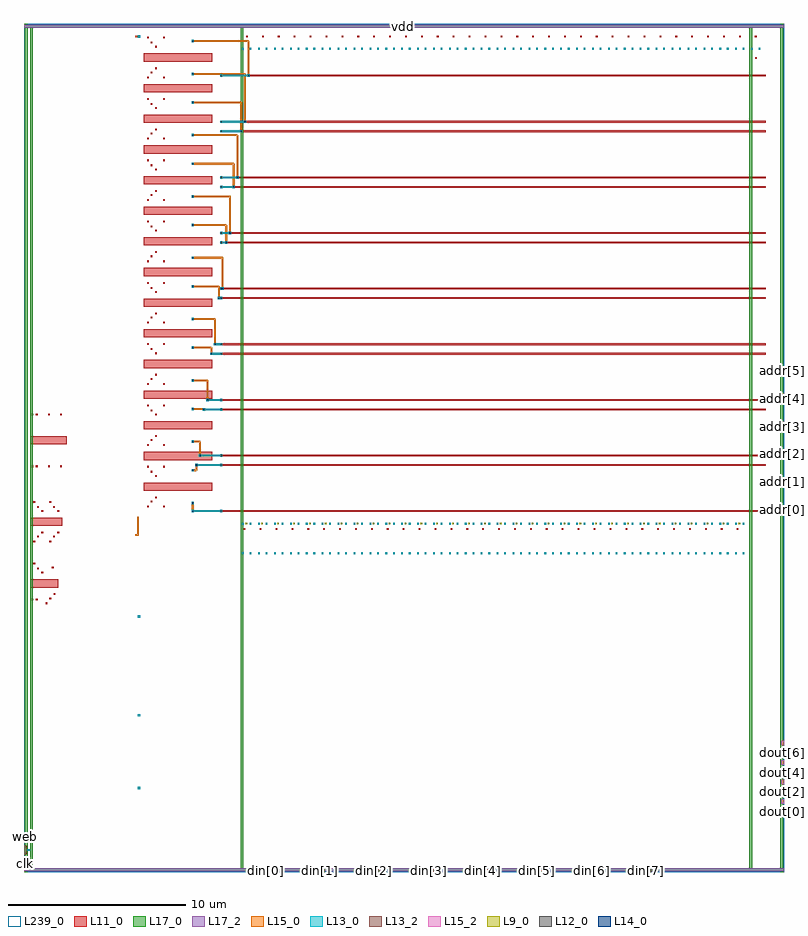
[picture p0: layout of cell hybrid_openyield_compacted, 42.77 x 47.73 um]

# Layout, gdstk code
import gdstk
lib = gdstk.Library(unit=1e-6, precision=5e-10)
def R(c, l, rs):  # rectangles x0, y0, x1, y1
    for r in rs: c.add(gdstk.rectangle(r[:2], r[2:], *l))
def A(c, l, x, y, w, h, nx, ny, dx, dy):  # array of equal rectangles
    R(c, l, [(x+i*dx, y+j*dy, x+i*dx+w, y+j*dy+h) for i in range(nx) for j in range(ny)])
L9_0 = (9, 0)
L11_0 = (11, 0)
L12_0 = (12, 0)
L13_0 = (13, 0)
L13_2 = (13, 2)
L14_0 = (14, 0)
L15_0 = (15, 0)
L15_2 = (15, 2)
L17_0 = (17, 0)
L17_2 = (17, 2)
L239_0 = (239, 0)

hybrid_openyield_compact = lib.new_cell('hybrid_openyield_compacted')
A(hybrid_openyield_compact, L9_0, 12.465, 19.575, 0.09, 0.09, 32, 1, 0.895, 0)
A(hybrid_openyield_compact, L11_0, 12.3725, 19.2675, 0.09, 0.09, 32, 1, 0.895, 0)
A(hybrid_openyield_compact, L11_0, 6.7375, 21.4625, 3.8675, 0.46, 1, 15, 0, 1.725)
A(hybrid_openyield_compact, L11_0, 0.67, 22.7925, 0.09, 0.09, 3, 2, 0.6875, 2.92)
A(hybrid_openyield_compact, L11_0, 12.5, 46.97, 0.09, 0.09, 33, 1, 0.895, 0)
R(hybrid_openyield_compact, L11_0, [(1.2175,15.08,1.3075,15.17), (0.4375,15.29,0.5275,15.38), (0.67,15.29,0.76,15.38), (1.4325,15.36,1.5225,15.45), (1.67,15.5925,1.76,15.6825), (0.3425,16.0125,1.9325,16.4725), (0.9825,16.8025,1.0725,16.8925), (0.745,17.035,0.835,17.125), (1.5725,17.105,1.6625,17.195), (0.53,17.315,0.62,17.405), (0.53,18.555,0.62,18.645), (1.4325,18.555,1.5225,18.645), (0.745,18.835,0.835,18.925), (1.6475,18.835,1.7375,18.925), (0.9825,19.0675,1.0725,19.1575), (1.885,19.0675,1.975,19.1575), (0.3425,19.4875,2.1475,19.9475), (11.0325,20.2475,11.1675,20.3825), (11.1,20.27,41.74,20.36), (0.9825,20.2775,1.0725,20.3675), (1.885,20.2775,1.975,20.3675), (0.745,20.51,0.835,20.6), (1.6475,20.51,1.7375,20.6), (6.925,20.53,7.015,20.62), (7.8275,20.53,7.9175,20.62), (9.4275,20.7025,9.5625,20.8375), (9.45,20.725,9.54,20.815), (0.53,20.79,0.62,20.88), (1.4325,20.79,1.5225,20.88), (7.14,20.81,7.23,20.9), (7.3775,21.0425,7.4675,21.1325), (7.3775,22.2525,7.4675,22.3425), (7.14,22.485,7.23,22.575), (9.4275,22.5475,9.5625,22.6825), (9.45,22.57,9.54,22.66), (6.925,22.765,7.015,22.855), (7.8275,22.765,7.9175,22.855), (0.4375,22.7925,0.5275,22.8825), (11.0325,22.8425,11.1675,22.9775), (11.1,22.865,41.74,22.955), (11.0325,23.3775,11.1675,23.5125), (11.1,23.4,41.74,23.49), (6.925,23.98,7.015,24.07), (7.8275,23.98,7.9175,24.07), (0.3425,24.0675,2.405,24.5275), (9.4275,24.1525,9.5625,24.2875), (9.45,24.175,9.54,24.265), (7.14,24.26,7.23,24.35), (7.3775,24.4925,7.4675,24.5825), (7.3775,25.7025,7.4675,25.7925), (0.4375,25.7125,0.5275,25.8025), (7.14,25.935,7.23,26.025), (11.0325,25.9725,11.1675,26.1075), (11.1,25.995,41.74,26.085), (9.4275,25.9975,9.5625,26.1325), (9.45,26.02,9.54,26.11), (6.925,26.215,7.015,26.305), (7.8275,26.215,7.9175,26.305), (11.0325,26.5075,11.1675,26.6425), (11.1,26.53,41.74,26.62), (6.925,27.43,7.015,27.52), (7.8275,27.43,7.9175,27.52), (9.4275,27.6025,9.5625,27.7375), (9.45,27.625,9.54,27.715), (7.14,27.71,7.23,27.8), (7.3775,27.9425,7.4675,28.0325), (11.0325,29.1025,11.1675,29.2375), (11.1,29.125,41.74,29.215), (7.3775,29.1525,7.4675,29.2425), (7.14,29.385,7.23,29.475), (9.4275,29.4475,9.5625,29.5825), (9.45,29.47,9.54,29.56), (11.0325,29.6375,11.1675,29.7725), (11.1,29.66,41.74,29.75), (6.925,29.665,7.015,29.755), (7.8275,29.665,7.9175,29.755), (6.925,30.88,7.015,30.97), (7.8275,30.88,7.9175,30.97), (9.4275,31.0525,9.5625,31.1875), (9.45,31.075,9.54,31.165), (7.14,31.16,7.23,31.25), (7.3775,31.3925,7.4675,31.4825), (11.0325,32.2325,11.1675,32.3675), (11.1,32.255,41.74,32.345), (7.3775,32.6025,7.4675,32.6925), (11.0325,32.7675,11.1675,32.9025), (11.1,32.79,41.74,32.88), (7.14,32.835,7.23,32.925), (9.4275,32.8975,9.5625,33.0325), (9.45,32.92,9.54,33.01), (6.925,33.115,7.015,33.205), (7.8275,33.115,7.9175,33.205), (6.925,34.33,7.015,34.42), (7.8275,34.33,7.9175,34.42), (9.4275,34.5025,9.5625,34.6375), (9.45,34.525,9.54,34.615), (7.14,34.61,7.23,34.7), (7.3775,34.8425,7.4675,34.9325), (11.0325,35.3625,11.1675,35.4975), (11.1,35.385,41.74,35.475), (11.0325,35.8975,11.1675,36.0325), (11.1,35.92,41.74,36.01), (7.3775,36.0525,7.4675,36.1425), (7.14,36.285,7.23,36.375), (9.4275,36.3475,9.5625,36.4825), (9.45,36.37,9.54,36.46), (6.925,36.565,7.015,36.655), (7.8275,36.565,7.9175,36.655), (6.925,37.78,7.015,37.87), (7.8275,37.78,7.9175,37.87), (9.4275,37.9525,9.5625,38.0875), (9.45,37.975,9.54,38.065), (7.14,38.06,7.23,38.15), (7.3775,38.2925,7.4675,38.3825), (11.0325,38.4925,11.1675,38.6275), (11.1,38.515,41.74,38.605), (11.0325,39.0275,11.1675,39.1625), (11.1,39.05,41.74,39.14), (7.3775,39.5025,7.4675,39.5925), (7.14,39.735,7.23,39.825), (9.4275,39.7975,9.5625,39.9325), (9.45,39.82,9.54,39.91), (6.925,40.015,7.015,40.105), (7.8275,40.015,7.9175,40.105), (6.925,41.23,7.015,41.32), (7.8275,41.23,7.9175,41.32), (9.4275,41.4025,9.5625,41.5375), (9.45,41.425,9.54,41.515), (7.14,41.51,7.23,41.6), (11.0325,41.6225,11.1675,41.7575), (11.1,41.645,41.74,41.735), (7.3775,41.7425,7.4675,41.8325), (11.0325,42.1575,11.1675,42.2925), (11.1,42.18,41.74,42.27), (7.3775,42.9525,7.4675,43.0425), (7.14,43.185,7.23,43.275), (9.4275,43.2475,9.5625,43.3825), (9.45,43.27,9.54,43.36), (6.925,43.465,7.015,43.555), (7.8275,43.465,7.9175,43.555), (6.925,44.68,7.015,44.77), (7.8275,44.68,7.9175,44.77), (11.0325,44.7525,11.1675,44.8875), (11.1,44.775,41.74,44.865), (9.4275,44.8525,9.5625,44.9875), (9.45,44.875,9.54,44.965), (7.14,44.96,7.23,45.05), (7.3775,45.1925,7.4675,45.2825), (41.16,45.7725,41.25,45.8625), (7.3775,46.4025,7.4675,46.4925), (7.14,46.635,7.23,46.725), (9.4275,46.6975,9.5625,46.8325), (9.45,46.72,9.54,46.81), (6.925,46.915,7.015,47.005), (7.8275,46.915,7.9175,47.005)])
R(hybrid_openyield_compact, L12_0, [(11.0675,20.2825,11.1325,20.3475), (9.4625,20.7375,9.5275,20.8025), (9.4625,22.5825,9.5275,22.6475), (11.0675,22.8775,11.1325,22.9425), (11.0675,23.4125,11.1325,23.4775), (9.4625,24.1875,9.5275,24.2525), (11.0675,26.0075,11.1325,26.0725), (9.4625,26.0325,9.5275,26.0975), (11.0675,26.5425,11.1325,26.6075), (9.4625,27.6375,9.5275,27.7025), (11.0675,29.1375,11.1325,29.2025), (9.4625,29.4825,9.5275,29.5475), (11.0675,29.6725,11.1325,29.7375), (9.4625,31.0875,9.5275,31.1525), (11.0675,32.2675,11.1325,32.3325), (11.0675,32.8025,11.1325,32.8675), (9.4625,32.9325,9.5275,32.9975), (9.4625,34.5375,9.5275,34.6025), (11.0675,35.3975,11.1325,35.4625), (11.0675,35.9325,11.1325,35.9975), (9.4625,36.3825,9.5275,36.4475), (9.4625,37.9875,9.5275,38.0525), (11.0675,38.5275,11.1325,38.5925), (11.0675,39.0625,11.1325,39.1275), (9.4625,39.8325,9.5275,39.8975), (9.4625,41.4375,9.5275,41.5025), (11.0675,41.6575,11.1325,41.7225), (11.0675,42.1925,11.1325,42.2575), (9.4625,43.2825,9.5275,43.3475), (11.0675,44.7875,11.1325,44.8525), (9.4625,44.8875,9.5275,44.9525), (9.4625,46.7325,9.5275,46.7975)])
A(hybrid_openyield_compact, L13_0, 13.37, 0, 0.5, 0.16, 8, 1, 3.06, 0)
A(hybrid_openyield_compact, L13_0, 0, 0.2425, 0.16, 0.5, 1, 3, 0, 0.75)
A(hybrid_openyield_compact, L13_0, 0.16, 0.4575, 0.1825, 0.07, 1, 3, 0, 0.75)
R(hybrid_openyield_compact, L13_0, [(6.395,4.6525,6.53,4.7875), (6.395,8.7575,6.53,8.8925), (6.395,14.325,6.53,14.46), (12.2875,17.8975,12.3775,17.9875), (12.7125,17.8975,12.8025,17.9875), (13.1825,17.8975,13.2725,17.9875), (13.6075,17.8975,13.6975,17.9875), (14.0775,17.8975,14.1675,17.9875), (14.5025,17.8975,14.5925,17.9875), (14.9725,17.8975,15.0625,17.9875), (15.3975,17.8975,15.4875,17.9875), (15.8675,17.8975,15.9575,17.9875), (16.2925,17.8975,16.3825,17.9875), (16.7625,17.8975,16.8525,17.9875), (17.1875,17.8975,17.2775,17.9875), (17.6575,17.8975,17.7475,17.9875), (18.0825,17.8975,18.1725,17.9875), (18.5525,17.8975,18.6425,17.9875), (18.9775,17.8975,19.0675,17.9875), (19.4475,17.8975,19.5375,17.9875), (19.8725,17.8975,19.9625,17.9875), (20.3425,17.8975,20.4325,17.9875), (20.7675,17.8975,20.8575,17.9875), (21.2375,17.8975,21.3275,17.9875), (21.6625,17.8975,21.7525,17.9875), (22.1325,17.8975,22.2225,17.9875), (22.5575,17.8975,22.6475,17.9875), (23.0275,17.8975,23.1175,17.9875), (23.4525,17.8975,23.5425,17.9875), (23.9225,17.8975,24.0125,17.9875), (24.3475,17.8975,24.4375,17.9875), (24.8175,17.8975,24.9075,17.9875), (25.2425,17.8975,25.3325,17.9875), (25.7125,17.8975,25.8025,17.9875), (26.1375,17.8975,26.2275,17.9875), (26.6075,17.8975,26.6975,17.9875), (27.0325,17.8975,27.1225,17.9875), (27.5025,17.8975,27.5925,17.9875), (27.9275,17.8975,28.0175,17.9875), (28.3975,17.8975,28.4875,17.9875), (28.8225,17.8975,28.9125,17.9875), (29.2925,17.8975,29.3825,17.9875), (29.7175,17.8975,29.8075,17.9875), (30.1875,17.8975,30.2775,17.9875), (30.6125,17.8975,30.7025,17.9875), (31.0825,17.8975,31.1725,17.9875), (31.5075,17.8975,31.5975,17.9875), (31.9775,17.8975,32.0675,17.9875), (32.4025,17.8975,32.4925,17.9875), (32.8725,17.8975,32.9625,17.9875), (33.2975,17.8975,33.3875,17.9875), (33.7675,17.8975,33.8575,17.9875), (34.1925,17.8975,34.2825,17.9875), (34.6625,17.8975,34.7525,17.9875), (35.0875,17.8975,35.1775,17.9875), (35.5575,17.8975,35.6475,17.9875), (35.9825,17.8975,36.0725,17.9875), (36.4525,17.8975,36.5425,17.9875), (36.8775,17.8975,36.9675,17.9875), (37.3475,17.8975,37.4375,17.9875), (37.7725,17.8975,37.8625,17.9875), (38.2425,17.8975,38.3325,17.9875), (38.6675,17.8975,38.7575,17.9875), (39.1375,17.8975,39.2275,17.9875), (39.5625,17.8975,39.6525,17.9875), (40.0325,17.8975,40.1225,17.9875), (40.4575,17.8975,40.5475,17.9875), (12.2875,19.5575,12.3775,19.6475), (12.7125,19.5575,12.8025,19.6475), (13.1825,19.5575,13.2725,19.6475), (13.6075,19.5575,13.6975,19.6475), (14.0775,19.5575,14.1675,19.6475), (14.5025,19.5575,14.5925,19.6475), (14.9725,19.5575,15.0625,19.6475), (15.3975,19.5575,15.4875,19.6475), (15.8675,19.5575,15.9575,19.6475), (16.2925,19.5575,16.3825,19.6475), (16.7625,19.5575,16.8525,19.6475), (17.1875,19.5575,17.2775,19.6475), (17.6575,19.5575,17.7475,19.6475), (18.0825,19.5575,18.1725,19.6475), (18.5525,19.5575,18.6425,19.6475), (18.9775,19.5575,19.0675,19.6475), (19.4475,19.5575,19.5375,19.6475), (19.8725,19.5575,19.9625,19.6475), (20.3425,19.5575,20.4325,19.6475), (20.7675,19.5575,20.8575,19.6475), (21.2375,19.5575,21.3275,19.6475), (21.6625,19.5575,21.7525,19.6475), (22.1325,19.5575,22.2225,19.6475), (22.5575,19.5575,22.6475,19.6475), (23.0275,19.5575,23.1175,19.6475), (23.4525,19.5575,23.5425,19.6475), (23.9225,19.5575,24.0125,19.6475), (24.3475,19.5575,24.4375,19.6475), (24.8175,19.5575,24.9075,19.6475), (25.2425,19.5575,25.3325,19.6475), (25.7125,19.5575,25.8025,19.6475), (26.1375,19.5575,26.2275,19.6475), (26.6075,19.5575,26.6975,19.6475), (27.0325,19.5575,27.1225,19.6475), (27.5025,19.5575,27.5925,19.6475), (27.9275,19.5575,28.0175,19.6475), (28.3975,19.5575,28.4875,19.6475), (28.8225,19.5575,28.9125,19.6475), (29.2925,19.5575,29.3825,19.6475), (29.7175,19.5575,29.8075,19.6475), (30.1875,19.5575,30.2775,19.6475), (30.6125,19.5575,30.7025,19.6475), (31.0825,19.5575,31.1725,19.6475), (31.5075,19.5575,31.5975,19.6475), (31.9775,19.5575,32.0675,19.6475), (32.4025,19.5575,32.4925,19.6475), (32.8725,19.5575,32.9625,19.6475), (33.2975,19.5575,33.3875,19.6475), (33.7675,19.5575,33.8575,19.6475), (34.1925,19.5575,34.2825,19.6475), (34.6625,19.5575,34.7525,19.6475), (35.0875,19.5575,35.1775,19.6475), (35.5575,19.5575,35.6475,19.6475), (35.9825,19.5575,36.0725,19.6475), (36.4525,19.5575,36.5425,19.6475), (36.8775,19.5575,36.9675,19.6475), (37.3475,19.5575,37.4375,19.6475), (37.7725,19.5575,37.8625,19.6475), (38.2425,19.5575,38.3325,19.6475), (38.6675,19.5575,38.7575,19.6475), (39.1375,19.5575,39.2275,19.6475), (39.5625,19.5575,39.6525,19.6475), (40.0325,19.5575,40.1225,19.6475), (40.4575,19.5575,40.5475,19.6475), (9.4275,20.2475,9.5625,20.3825), (11.0325,20.2475,11.1675,20.3825), (9.495,20.27,11.1,20.36), (9.4275,20.7025,9.5625,20.8375), (9.4275,22.5475,9.5625,22.6825), (9.6375,22.8425,9.7725,22.9775), (11.0325,22.8425,11.1675,22.9775), (9.705,22.865,11.1,22.955), (9.8475,23.3775,9.9825,23.5125), (11.0325,23.3775,11.1675,23.5125), (9.915,23.4,11.1,23.49), (9.4275,24.1525,9.5625,24.2875), (10.0575,25.9725,10.1925,26.1075), (11.0325,25.9725,11.1675,26.1075), (10.125,25.995,11.1,26.085), (9.4275,25.9975,9.5625,26.1325), (10.2675,26.5075,10.4025,26.6425), (11.0325,26.5075,11.1675,26.6425), (10.335,26.53,11.1,26.62), (9.4275,27.6025,9.5625,27.7375), (10.4775,29.1025,10.6125,29.2375), (11.0325,29.1025,11.1675,29.2375), (10.545,29.125,11.1,29.215), (9.4275,29.4475,9.5625,29.5825), (10.6875,29.6375,10.8225,29.7725), (11.0325,29.6375,11.1675,29.7725), (10.755,29.66,11.1,29.75), (9.4275,31.0525,9.5625,31.1875), (10.8975,32.2325,11.1675,32.3675), (10.965,32.255,11.1,32.345), (11.0325,32.7675,11.2425,32.9025), (11.0925,32.79,11.1825,32.88), (9.4275,32.8975,9.5625,33.0325), (9.4275,34.5025,9.5625,34.6375), (11.0325,35.3625,11.1675,35.4975), (11.3175,35.3625,11.4525,35.4975), (11.1,35.385,11.385,35.475), (11.0325,35.8975,11.1675,36.0325), (11.5275,35.8975,11.6625,36.0325), (11.1,35.92,11.595,36.01), (9.4275,36.3475,9.5625,36.4825), (9.4275,37.9525,9.5625,38.0875), (11.0325,38.4925,11.1675,38.6275), (11.7375,38.4925,11.8725,38.6275), (11.1,38.515,11.805,38.605), (11.0325,39.0275,11.1675,39.1625), (11.9475,39.0275,12.0825,39.1625), (11.1,39.05,12.015,39.14), (9.4275,39.7975,9.5625,39.9325), (9.4275,41.4025,9.5625,41.5375), (11.0325,41.6225,11.1675,41.7575), (12.1575,41.6225,12.2925,41.7575), (11.1,41.645,12.225,41.735), (11.0325,42.1575,11.1675,42.2925), (12.3675,42.1575,12.5025,42.2925), (11.1,42.18,12.435,42.27), (9.4275,43.2475,9.5625,43.3825), (11.0325,44.7525,11.1675,44.8875), (12.5775,44.7525,12.7125,44.8875), (11.1,44.775,12.645,44.865), (9.4275,44.8525,9.5625,44.9875), (12.2875,46.2875,12.3775,46.3775), (12.7125,46.2875,12.8025,46.3775), (13.1825,46.2875,13.2725,46.3775), (13.6075,46.2875,13.6975,46.3775), (14.0775,46.2875,14.1675,46.3775), (14.5025,46.2875,14.5925,46.3775), (14.9725,46.2875,15.0625,46.3775), (15.3975,46.2875,15.4875,46.3775), (15.8675,46.2875,15.9575,46.3775), (16.2925,46.2875,16.3825,46.3775), (16.7625,46.2875,16.8525,46.3775), (17.1875,46.2875,17.2775,46.3775), (17.6575,46.2875,17.7475,46.3775), (18.0825,46.2875,18.1725,46.3775), (18.5525,46.2875,18.6425,46.3775), (18.9775,46.2875,19.0675,46.3775), (19.4475,46.2875,19.5375,46.3775), (19.8725,46.2875,19.9625,46.3775), (20.3425,46.2875,20.4325,46.3775), (20.7675,46.2875,20.8575,46.3775), (21.2375,46.2875,21.3275,46.3775), (21.6625,46.2875,21.7525,46.3775), (22.1325,46.2875,22.2225,46.3775), (22.5575,46.2875,22.6475,46.3775), (23.0275,46.2875,23.1175,46.3775), (23.4525,46.2875,23.5425,46.3775), (23.9225,46.2875,24.0125,46.3775), (24.3475,46.2875,24.4375,46.3775), (24.8175,46.2875,24.9075,46.3775), (25.2425,46.2875,25.3325,46.3775), (25.7125,46.2875,25.8025,46.3775), (26.1375,46.2875,26.2275,46.3775), (26.6075,46.2875,26.6975,46.3775), (27.0325,46.2875,27.1225,46.3775), (27.5025,46.2875,27.5925,46.3775), (27.9275,46.2875,28.0175,46.3775), (28.3975,46.2875,28.4875,46.3775), (28.8225,46.2875,28.9125,46.3775), (29.2925,46.2875,29.3825,46.3775), (29.7175,46.2875,29.8075,46.3775), (30.1875,46.2875,30.2775,46.3775), (30.6125,46.2875,30.7025,46.3775), (31.0825,46.2875,31.1725,46.3775), (31.5075,46.2875,31.5975,46.3775), (31.9775,46.2875,32.0675,46.3775), (32.4025,46.2875,32.4925,46.3775), (32.8725,46.2875,32.9625,46.3775), (33.2975,46.2875,33.3875,46.3775), (33.7675,46.2875,33.8575,46.3775), (34.1925,46.2875,34.2825,46.3775), (34.6625,46.2875,34.7525,46.3775), (35.0875,46.2875,35.1775,46.3775), (35.5575,46.2875,35.6475,46.3775), (35.9825,46.2875,36.0725,46.3775), (36.4525,46.2875,36.5425,46.3775), (36.8775,46.2875,36.9675,46.3775), (37.3475,46.2875,37.4375,46.3775), (37.7725,46.2875,37.8625,46.3775), (38.2425,46.2875,38.3325,46.3775), (38.6675,46.2875,38.7575,46.3775), (39.1375,46.2875,39.2275,46.3775), (39.5625,46.2875,39.6525,46.3775), (40.0325,46.2875,40.1225,46.3775), (40.4575,46.2875,40.5475,46.3775), (40.9275,46.2875,41.0175,46.3775), (41.3525,46.2875,41.4425,46.3775), (9.4275,46.6975,9.5625,46.8325), (6.395,46.9475,6.53,47.0825)])
A(hybrid_openyield_compact, L13_2, 13.37, 0, 0.5, 0.16, 8, 1, 3.06, 0)
A(hybrid_openyield_compact, L13_2, 0, 0.2425, 0.16, 0.5, 1, 3, 0, 0.75)
R(hybrid_openyield_compact, L14_0, [(9.4625,20.2825,9.5275,20.3475), (9.4625,20.7375,9.5275,20.8025), (9.4625,22.5825,9.5275,22.6475), (9.6725,22.8775,9.7375,22.9425), (9.8825,23.4125,9.9475,23.4775), (9.4625,24.1875,9.5275,24.2525), (10.0925,26.0075,10.1575,26.0725), (9.4625,26.0325,9.5275,26.0975), (10.3025,26.5425,10.3675,26.6075), (9.4625,27.6375,9.5275,27.7025), (10.5125,29.1375,10.5775,29.2025), (9.4625,29.4825,9.5275,29.5475), (10.7225,29.6725,10.7875,29.7375), (9.4625,31.0875,9.5275,31.1525), (10.9325,32.2675,10.9975,32.3325), (11.1425,32.8025,11.2075,32.8675), (9.4625,32.9325,9.5275,32.9975), (9.4625,34.5375,9.5275,34.6025), (11.3525,35.3975,11.4175,35.4625), (11.5625,35.9325,11.6275,35.9975), (9.4625,36.3825,9.5275,36.4475), (9.4625,37.9875,9.5275,38.0525), (11.7725,38.5275,11.8375,38.5925), (11.9825,39.0625,12.0475,39.1275), (9.4625,39.8325,9.5275,39.8975), (9.4625,41.4375,9.5275,41.5025), (12.1925,41.6575,12.2575,41.7225), (12.4025,42.1925,12.4675,42.2575), (9.4625,43.2825,9.5275,43.3475), (12.6125,44.7875,12.6775,44.8525), (9.4625,44.8875,9.5275,44.9525), (9.4625,46.7325,9.5275,46.7975)])
A(hybrid_openyield_compact, L15_0, 42.6125, 3.2875, 0.16, 0.25, 1, 8, 0, 0.55)
A(hybrid_openyield_compact, L15_0, 42.6125, 20.1475, 0.16, 0.5, 1, 6, 0, 1.565)
R(hybrid_openyield_compact, L15_0, [(6.395,4.6525,6.53,4.7875), (6.395,8.7575,6.53,8.8925), (6.395,14.325,6.53,14.46), (6.2625,18.925,6.4575,19.015), (6.3675,18.925,6.4575,19.9925), (9.4275,20.2475,9.5625,20.3825), (9.45,20.315,9.54,20.815), (9.4275,20.7025,9.5625,20.8375), (9.4275,22.5475,9.5625,22.6825), (9.495,22.57,9.705,22.66), (9.66,22.615,9.75,22.91), (9.6375,22.8425,9.7725,22.9775), (9.8475,23.3775,9.9825,23.5125), (9.87,23.445,9.96,24.22), (9.4275,24.1525,9.5625,24.2875), (9.495,24.175,9.915,24.265), (10.0575,25.9725,10.1925,26.1075), (9.4275,25.9975,9.5625,26.1325), (10.08,26.0075,10.17,26.0975), (9.495,26.02,10.125,26.11), (10.2675,26.5075,10.4025,26.6425), (10.29,26.575,10.38,27.67), (9.4275,27.6025,9.5625,27.7375), (9.495,27.625,10.335,27.715), (10.4775,29.1025,10.6125,29.2375), (10.5,29.17,10.59,29.515), (9.4275,29.4475,9.5625,29.5825), (9.495,29.47,10.545,29.56), (10.6875,29.6375,10.8225,29.7725), (10.71,29.705,10.8,31.12), (9.4275,31.0525,9.5625,31.1875), (9.495,31.075,10.755,31.165), (10.8975,32.2325,11.0325,32.3675), (10.92,32.3,11.01,32.965), (11.1075,32.7675,11.2425,32.9025), (11.13,32.835,11.22,34.57), (9.4275,32.8975,9.5625,33.0325), (9.495,32.92,10.965,33.01), (9.4275,34.5025,9.5625,34.6375), (9.495,34.525,11.175,34.615), (11.3175,35.3625,11.4525,35.4975), (11.34,35.43,11.43,36.415), (11.5275,35.8975,11.6625,36.0325), (11.55,35.965,11.64,38.02), (9.4275,36.3475,9.5625,36.4825), (9.495,36.37,11.385,36.46), (9.4275,37.9525,9.5625,38.0875), (9.495,37.975,11.595,38.065), (11.7375,38.4925,11.8725,38.6275), (11.76,38.56,11.85,39.865), (11.9475,39.0275,12.0825,39.1625), (11.97,39.095,12.06,41.47), (9.4275,39.7975,9.5625,39.9325), (9.495,39.82,11.805,39.91), (9.4275,41.4025,9.5625,41.5375), (9.495,41.425,12.015,41.515), (12.1575,41.6225,12.2925,41.7575), (12.18,41.69,12.27,43.315), (12.3675,42.1575,12.5025,42.2925), (12.39,42.225,12.48,44.92), (9.4275,43.2475,9.5625,43.3825), (9.495,43.27,12.225,43.36), (12.5775,44.7525,12.7125,44.8875), (12.6,44.82,12.69,46.765), (9.4275,44.8525,9.5625,44.9875), (9.495,44.875,12.435,44.965), (9.4275,46.6975,9.5625,46.8325), (9.495,46.72,12.645,46.81), (6.395,46.9475,6.53,47.0825), (6.2625,46.97,6.4625,47.06)])
A(hybrid_openyield_compact, L15_2, 42.6125, 3.2875, 0.16, 0.25, 1, 8, 0, 0.55)
A(hybrid_openyield_compact, L15_2, 42.6125, 20.1475, 0.16, 0.5, 1, 6, 0, 1.565)
R(hybrid_openyield_compact, L17_0, [(0.05,0,0.2,47.73), (42.5725,0,42.7225,47.73), (0,0.05,42.7725,0.2), (0.3425,0.2,0.5025,47.53), (12.19,0.2,12.35,47.53), (40.83,0.2,40.99,47.53), (0,47.53,42.7725,47.68)])
R(hybrid_openyield_compact, L17_2, [(0,0.05,42.7725,0.2), (0,47.53,42.7725,47.68)])
R(hybrid_openyield_compact, L239_0, [(0,0,42.7725,47.73)])
hybrid_openyield_compact.add(gdstk.Label('clk', (0.08,0.4925), layer=13, texttype=1))
hybrid_openyield_compact.add(gdstk.Label('csb', (0.08,1.2425), layer=13, texttype=1))
hybrid_openyield_compact.add(gdstk.Label('web', (0.08,1.9925), layer=13, texttype=1))
hybrid_openyield_compact.add(gdstk.Label('addr[0]', (42.6925,20.3975), layer=15, texttype=1))
hybrid_openyield_compact.add(gdstk.Label('addr[1]', (42.6925,21.9625), layer=15, texttype=1))
hybrid_openyield_compact.add(gdstk.Label('addr[2]', (42.6925,23.5275), layer=15, texttype=1))
hybrid_openyield_compact.add(gdstk.Label('addr[3]', (42.6925,25.0925), layer=15, texttype=1))
hybrid_openyield_compact.add(gdstk.Label('addr[4]', (42.6925,26.6575), layer=15, texttype=1))
hybrid_openyield_compact.add(gdstk.Label('addr[5]', (42.6925,28.2225), layer=15, texttype=1))
hybrid_openyield_compact.add(gdstk.Label('din[0]', (13.62,0.08), layer=13, texttype=1))
hybrid_openyield_compact.add(gdstk.Label('dout[0]', (42.6925,3.4125), layer=15, texttype=1))
hybrid_openyield_compact.add(gdstk.Label('din[1]', (16.68,0.08), layer=13, texttype=1))
hybrid_openyield_compact.add(gdstk.Label('dout[1]', (42.6925,3.9625), layer=15, texttype=1))
hybrid_openyield_compact.add(gdstk.Label('din[2]', (19.74,0.08), layer=13, texttype=1))
hybrid_openyield_compact.add(gdstk.Label('dout[2]', (42.6925,4.5125), layer=15, texttype=1))
hybrid_openyield_compact.add(gdstk.Label('din[3]', (22.8,0.08), layer=13, texttype=1))
hybrid_openyield_compact.add(gdstk.Label('dout[3]', (42.6925,5.0625), layer=15, texttype=1))
hybrid_openyield_compact.add(gdstk.Label('din[4]', (25.86,0.08), layer=13, texttype=1))
hybrid_openyield_compact.add(gdstk.Label('dout[4]', (42.6925,5.6125), layer=15, texttype=1))
hybrid_openyield_compact.add(gdstk.Label('din[5]', (28.92,0.08), layer=13, texttype=1))
hybrid_openyield_compact.add(gdstk.Label('dout[5]', (42.6925,6.1625), layer=15, texttype=1))
hybrid_openyield_compact.add(gdstk.Label('din[6]', (31.98,0.08), layer=13, texttype=1))
hybrid_openyield_compact.add(gdstk.Label('dout[6]', (42.6925,6.7125), layer=15, texttype=1))
hybrid_openyield_compact.add(gdstk.Label('din[7]', (35.04,0.08), layer=13, texttype=1))
hybrid_openyield_compact.add(gdstk.Label('dout[7]', (42.6925,7.2625), layer=15, texttype=1))
hybrid_openyield_compact.add(gdstk.Label('vdd', (21.385,47.605), layer=17, texttype=1))
hybrid_openyield_compact.add(gdstk.Label('gnd', (21.385,0.125), layer=17, texttype=1))

lib.write_gds('hybrid_openyield_compacted.gds')
